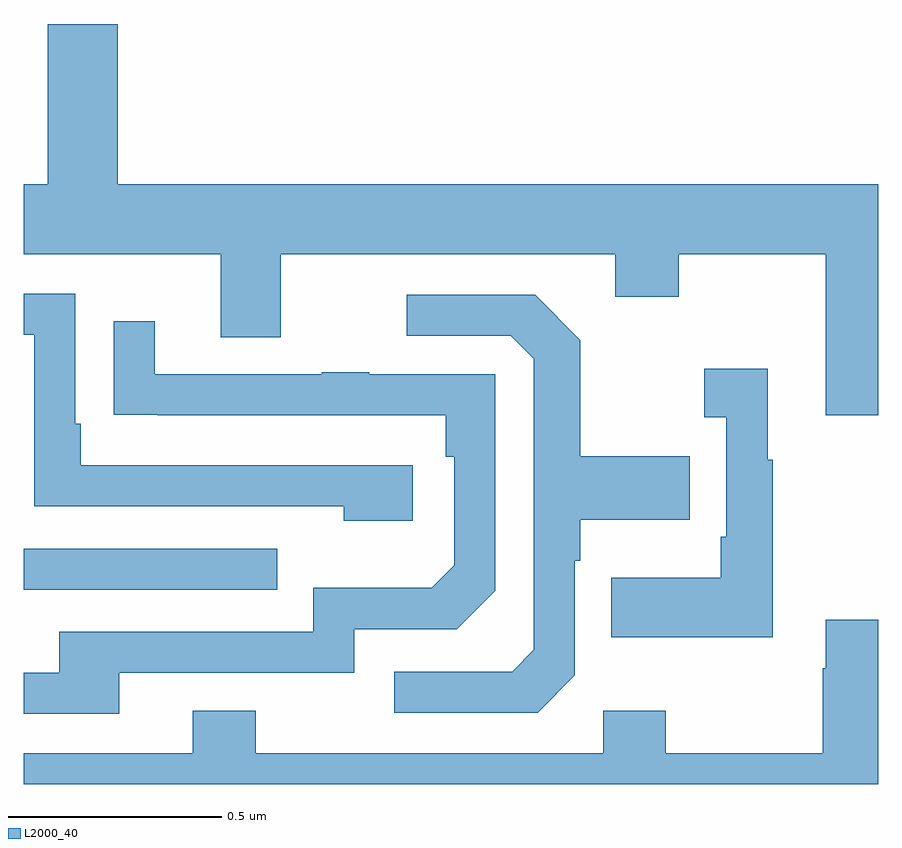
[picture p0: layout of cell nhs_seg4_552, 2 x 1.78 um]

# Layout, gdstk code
import gdstk
lib = gdstk.Library(unit=1e-6, precision=1e-09)
def R(c, l, rs):  # rectangles x0, y0, x1, y1
    for r in rs: c.add(gdstk.rectangle(r[:2], r[2:], *l))
def P(c, l, *ps):  # polygons
    for p in ps: c.add(gdstk.Polygon(p, *l))
L2000_40 = (2000, 40)

nhs_seg4_552 = lib.new_cell('nhs_seg4_552')
R(nhs_seg4_552, L2000_40, [(117,809.355,117.593,809.451)])
P(nhs_seg4_552, L2000_40, [(119,810.304),(117.22,810.304),(117.22,810.679),(117.056,810.679),(117.056,810.304),(117,810.304),(117,810.14),(117.461,810.14),(117.461,809.946),(117.601,809.946),(117.601,810.14),(118.385,810.14),(118.385,810.041),(118.533,810.041),(118.533,810.14),(118.877,810.14),(118.877,809.763),(119,809.763)],
  [(117.91,809.646),(117.133,809.646),(117.133,809.743),(117.12,809.743),(117.12,810.048),(117,810.048),(117,809.952),(117.024,809.952),(117.024,809.55),(117.749,809.55),(117.749,809.516),(117.91,809.516)],
  [(118.29,809.154),(118.29,809.423),(118.303,809.423),(118.303,809.519),(118.559,809.519),(118.559,809.667),(118.303,809.667),(118.303,809.939),(118.197,810.045),(117.897,810.045),(117.897,809.949),(118.14,809.949),(118.194,809.895),(118.194,809.214),(118.143,809.163),(117.867,809.163),(117.867,809.067),(118.203,809.067)],
  [(117.223,809.16),(117.774,809.16),(117.774,809.262),(118.014,809.262),(118.104,809.352),(118.104,809.859),(117.809,809.859),(117.809,809.864),(117.697,809.864),(117.697,809.859),(117.307,809.859),(117.307,809.983),(117.211,809.983),(117.211,809.764),(117.313,809.764),(117.313,809.763),(117.988,809.763),(117.988,809.666),(118.008,809.666),(118.008,809.412),(117.955,809.359),(117.678,809.359),(117.678,809.256),(117.083,809.256),(117.083,809.16),(117,809.16),(117,809.064),(117.223,809.064)],
  [(118.753,809.659),(118.741,809.659),(118.741,809.872),(118.593,809.872),(118.593,809.759),(118.644,809.759),(118.644,809.479),(118.632,809.479),(118.632,809.383),(118.375,809.383),(118.375,809.243),(118.753,809.243)],
  [(119,809.284),(118.877,809.284),(118.877,809.171),(118.87,809.171),(118.87,808.972),(118.503,808.972),(118.503,809.071),(118.356,809.071),(118.356,808.972),(117.543,808.972),(117.543,809.071),(117.395,809.071),(117.395,808.972),(117,808.972),(117,808.9),(119,808.9)])

lib.write_gds('nhs_seg4_552.gds')
